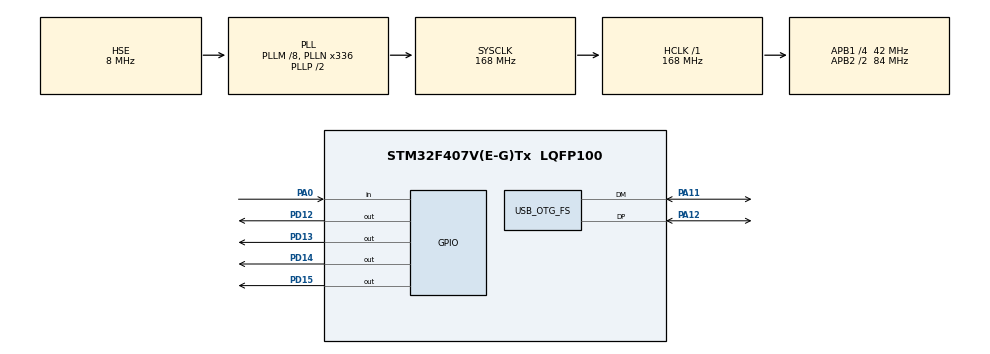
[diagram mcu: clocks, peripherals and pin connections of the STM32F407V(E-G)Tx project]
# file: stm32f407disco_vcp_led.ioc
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FREERTOS.Tasks01=defaultTask,0,128,StartDefaultTask,Default,NULL
Mcu.Family=STM32F4
Mcu.Name=STM32F407V(E-G)Tx
Mcu.Package=LQFP100
NVIC.OTG_FS_IRQn=true\:5\:0\:false\:false\:true\:true\:false\:true
NVIC.PriorityGroup=NVIC_PRIORITYGROUP_4
NVIC.TIM6_DAC_IRQn=true\:0\:0\:false\:false\:true\:false\:false\:true
NVIC.TimeBase=TIM6_DAC_IRQn
NVIC.TimeBaseIP=TIM6
PA0-WKUP.Signal=GPIO_Input
PA11.Mode=Device_Only
PA11.Signal=USB_OTG_FS_DM
PA12.Mode=Device_Only
PA12.Signal=USB_OTG_FS_DP
PD12.Signal=GPIO_Output
PD13.Signal=GPIO_Output
PD14.Signal=GPIO_Output
PD15.Signal=GPIO_Output
PH0-OSC_IN.Mode=HSE-External-Oscillator
PH0-OSC_IN.Signal=RCC_OSC_IN
PH1-OSC_OUT.Mode=HSE-External-Oscillator
PH1-OSC_OUT.Signal=RCC_OSC_OUT
ProjectManager.HeapSize=0x200
ProjectManager.StackSize=0x400
ProjectManager.TargetToolchain=TrueSTUDIO
RCC.48MHZClocksFreq_Value=48000000
RCC.AHBFreq_Value=168000000
RCC.APB1CLKDivider=RCC_HCLK_DIV4
RCC.APB1Freq_Value=42000000
RCC.APB1TimFreq_Value=84000000
RCC.APB2CLKDivider=RCC_HCLK_DIV2
RCC.APB2Freq_Value=84000000
RCC.APB2TimFreq_Value=168000000
RCC.CortexFreq_Value=168000000
RCC.HCLKFreq_Value=168000000
RCC.HSE_VALUE=8000000
RCC.HSI_VALUE=16000000
RCC.LSE_VALUE=32768
RCC.PLLM=8
RCC.PLLN=336
RCC.PLLQ=7
RCC.SYSCLKFreq_VALUE=168000000
RCC.SYSCLKSource=RCC_SYSCLKSOURCE_PLLCLK
RCC.VCOOutputFreq_Value=336000000
USB_DEVICE.CLASS_NAME_FS=CDC
USB_DEVICE.VirtualMode-CDC_FS=Cdc
USB_DEVICE.VirtualModeFS=Cdc_FS
USB_OTG_FS.VirtualMode=Device_Only
VP_FREERTOS_VS_CMSIS_V1.Mode=CMSIS_V1
VP_SYS_VS_tim6.Mode=TIM6
VP_USB_DEVICE_VS_USB_DEVICE_CDC_FS.Mode=CDC_FS
board=STM32F407G-DISC1

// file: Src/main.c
/* USER CODE BEGIN Header */
/**
  ******************************************************************************
  * @file           : main.c
  * @brief          : Main program body
  ******************************************************************************
  * @attention
  *
  * <h2><center>&copy; Copyright (c) 2019 STMicroelectronics.
  * All rights reserved.</center></h2>
  *
  * This software component is licensed by ST under Ultimate Liberty license
  * SLA0044, the "License"; You may not use this file except in compliance with
  * the License. You may obtain a copy of the License at:
  *                             www.st.com/SLA0044
  *
  ******************************************************************************
  */
/* USER CODE END Header */

#include "main.h"
#include "cmsis_os.h"
#include "usb_device.h"

/* USER CODE BEGIN Includes */
#include "usbd_cdc_if.h"
#include <stdbool.h>
/* USER CODE END Includes */

/* USER CODE BEGIN PD */
enum {
	SERIAL_PACKET__NONE,
	SERIAL_PACKET__FLASH_WRITE,
	SERIAL_PACKET__FLASH_READ,
	SERIAL_PACKET__LED,
};

struct serial_data_t {
	bool	 valid;
	uint32_t opcode;
	uint8_t  buf[560];
	uint32_t len;
};

/* USER CODE END PD */

osThreadId defaultTaskHandle;
/* USER CODE BEGIN PV */
static struct serial_data_t serial_data;
/* USER CODE END PV */

void SystemClock_Config(void);
static void MX_GPIO_Init(void);
void StartDefaultTask(void const * argument);

/* USER CODE BEGIN 0 */

/*
 * Convert ascii byte to on hex byte
 */
static uint8_t ascii2hex(uint8_t val) {
	uint8_t res;
	if (val >= '0' && val <= '9') {
		res = val - '0';
	} else if (val >= 'a' && val <= 'f') {
		res = val - 'a' + 10;
	} else if (val >= 'A' && val <= 'F') {
		res = val - 'A' + 10;
	}

	return res;
}

/*
* convert two bytes of ascii to one byte hex.
*/
static uint32_t s_ascii_to_hex(uint16_t index, uint16_t size) {
	uint32_t res=0;
	uint32_t val;

	for (int i = 0; i < size; i++) {
		val = ascii2hex(serial_data.buf[index+i]) << (i*4);
		res |= val;
	}
	return res;
}

/*
 *  return the opcode , opcode is first 4 bytes of the data.
 */
static uint16_t s_get_opcode(void) {
	return (uint16_t)s_ascii_to_hex(0, 2*2);
}

/*
 * return led number and state
 */
static void led_get(uint8_t *led, uint8_t *state) {
	uint16_t val = (uint16_t)s_ascii_to_hex(4, 2*2);
	*led = val & 0xff;
	*state = (val >> 8) & 0xff;
}

/*
 *  toggle the led based on led packet.
 */
static void s_led_packet(void) {
	uint8_t led;
	uint8_t state;
	led_get(&led, &state);
	switch(led) {
	case 0:
		HAL_GPIO_WritePin(GPIOD, GPIO_PIN_12, state ? GPIO_PIN_SET : GPIO_PIN_RESET);
		break;
	case 1:
		HAL_GPIO_WritePin(GPIOD, GPIO_PIN_13,  state ? GPIO_PIN_SET : GPIO_PIN_RESET);
		break;
	case 2:
		HAL_GPIO_WritePin(GPIOD, GPIO_PIN_14,  state ? GPIO_PIN_SET : GPIO_PIN_RESET);
		break;
	case 3:
		HAL_GPIO_WritePin(GPIOD, GPIO_PIN_15,  state ? GPIO_PIN_SET : GPIO_PIN_RESET);
		break;
	}
}

/*
 * parse the packet
 */
static void parse_packet(void) {
	switch(s_get_opcode()) {
		case SERIAL_PACKET__LED:
			s_led_packet();
			break;
		default:
			break;
	}
}

/*
 * Packet start with '[' and end with ']'
 * data in between is ascii.
 * first 4 bytes is opcode
 * next 8 bytes is address
 * 4 bytes after address is the size
 * [opcode(2) address(4) size(2) data....]
 * One byte of hex is two bytes of ascii.
 *   opcode is an uint16_t -- 2*2 = 4bytes
 *   address is an uint32_t -- 4*2 = 8bytes
 *   size is an uint16_t -- 2*2 = 4bytes
 * */
static void vcp_store_data(uint8_t *ptr, uint32_t len) {
	for (uint32_t i=0; i < len; i++){
		switch (ptr[i]) {
		case '[': //begin packet receiving
			serial_data.len = 0;
			serial_data.valid=true;
			continue;
		case ']': //endpacket receiving
			serial_data.valid=false;
			parse_packet();
			continue;
		default: //strore the data in the buffer
			if (serial_data.valid) {
				serial_data.buf[serial_data.len++] = ptr[i];
			}
			continue;
		}
	}
}

/*
 * Call by the usb interupt.
 */
void CDC_ReceiveCallBack(uint8_t *buf, uint32_t len) {
	vcp_store_data(buf, len);
}

/* USER CODE END 0 */

int main(void)
{

  /* MCU Configuration--------------------------------------------------------*/

  /* Reset of all peripherals, Initializes the Flash interface and the Systick. */
  HAL_Init();

  /* Configure the system clock */
  SystemClock_Config();

  /* Initialize all configured peripherals */
  MX_GPIO_Init();

  /* Create the thread(s) */
  /* definition and creation of defaultTask */
  osThreadDef(defaultTask, StartDefaultTask, osPriorityNormal, 0, 128);
  defaultTaskHandle = osThreadCreate(osThread(defaultTask), NULL);

  /* USER CODE BEGIN RTOS_THREADS */
  /* add threads, ... */
#if 0
  /*
   * create a flash instance to store the led data.
   * Passing a pointer to the led data and the size.
   */
  flash_create(&flash_user_data, (uint8_t *)&led, sizeof(struct led_t));
  /*
   * update the led based on the led data
   */
  update_led();
  /*
   * create a task to monitor the led data.
   */
  xTaskCreate(flash_update, "flash update", 128, NULL, 0, NULL);
#endif
  /* USER CODE END RTOS_THREADS */

  /* Start scheduler */
  osKernelStart();

  /* We should never get here as control is now taken by the scheduler */

  /* Infinite loop */
  while (1)
  {

  }
}

void SystemClock_Config(void)
{
  RCC_OscInitTypeDef RCC_OscInitStruct = {0};
  RCC_ClkInitTypeDef RCC_ClkInitStruct = {0};

  /** Configure the main internal regulator output voltage
  */
  __HAL_RCC_PWR_CLK_ENABLE();
  __HAL_PWR_VOLTAGESCALING_CONFIG(PWR_REGULATOR_VOLTAGE_SCALE1);
  /** Initializes the CPU, AHB and APB busses clocks
  */
  RCC_OscInitStruct.OscillatorType = RCC_OSCILLATORTYPE_HSE;
  RCC_OscInitStruct.HSEState = RCC_HSE_ON;
  RCC_OscInitStruct.PLL.PLLState = RCC_PLL_ON;
  RCC_OscInitStruct.PLL.PLLSource = RCC_PLLSOURCE_HSE;
  RCC_OscInitStruct.PLL.PLLM = 8;
  RCC_OscInitStruct.PLL.PLLN = 336;
  RCC_OscInitStruct.PLL.PLLP = RCC_PLLP_DIV2;
  RCC_OscInitStruct.PLL.PLLQ = 7;
  if (HAL_RCC_OscConfig(&RCC_OscInitStruct) != HAL_OK)
  {
    Error_Handler();
  }
  /** Initializes the CPU, AHB and APB busses clocks
  */
  RCC_ClkInitStruct.ClockType = RCC_CLOCKTYPE_HCLK|RCC_CLOCKTYPE_SYSCLK
                              |RCC_CLOCKTYPE_PCLK1|RCC_CLOCKTYPE_PCLK2;
  RCC_ClkInitStruct.SYSCLKSource = RCC_SYSCLKSOURCE_PLLCLK;
  RCC_ClkInitStruct.AHBCLKDivider = RCC_SYSCLK_DIV1;
  RCC_ClkInitStruct.APB1CLKDivider = RCC_HCLK_DIV4;
  RCC_ClkInitStruct.APB2CLKDivider = RCC_HCLK_DIV2;

  if (HAL_RCC_ClockConfig(&RCC_ClkInitStruct, FLASH_LATENCY_5) != HAL_OK)
  {
    Error_Handler();
  }
}

static void MX_GPIO_Init(void)
{
  GPIO_InitTypeDef GPIO_InitStruct = {0};

  /* GPIO Ports Clock Enable */
  __HAL_RCC_GPIOH_CLK_ENABLE();
  __HAL_RCC_GPIOA_CLK_ENABLE();
  __HAL_RCC_GPIOD_CLK_ENABLE();

  /*Configure GPIO pin Output Level */
  HAL_GPIO_WritePin(GPIOD, GPIO_PIN_12|GPIO_PIN_13|GPIO_PIN_14|GPIO_PIN_15, GPIO_PIN_RESET);

  /*Configure GPIO pin : PA0 */
  GPIO_InitStruct.Pin = GPIO_PIN_0;
  GPIO_InitStruct.Mode = GPIO_MODE_INPUT;
  GPIO_InitStruct.Pull = GPIO_NOPULL;
  HAL_GPIO_Init(GPIOA, &GPIO_InitStruct);

  /*Configure GPIO pins : PD12 PD13 PD14 PD15 */
  GPIO_InitStruct.Pin = GPIO_PIN_12|GPIO_PIN_13|GPIO_PIN_14|GPIO_PIN_15;
  GPIO_InitStruct.Mode = GPIO_MODE_OUTPUT_PP;
  GPIO_InitStruct.Pull = GPIO_NOPULL;
  GPIO_InitStruct.Speed = GPIO_SPEED_FREQ_LOW;
  HAL_GPIO_Init(GPIOD, &GPIO_InitStruct);

}

void StartDefaultTask(void const * argument)
{
  /* init code for USB_DEVICE */
  MX_USB_DEVICE_Init();
  /* USER CODE BEGIN 5 */
  //osDelay(5000);
  /* Infinite loop */
  for(;;)
  {
	HAL_GPIO_TogglePin(GPIOD, GPIO_PIN_12);
    osDelay(200);
  }
  /* USER CODE END 5 */
}

void HAL_TIM_PeriodElapsedCallback(TIM_HandleTypeDef *htim)
{
  if (htim->Instance == TIM6) {
    HAL_IncTick();
  }
}

void Error_Handler(void)
{
}

/************************ (C) COPYRIGHT STMicroelectronics *****END OF FILE****/
